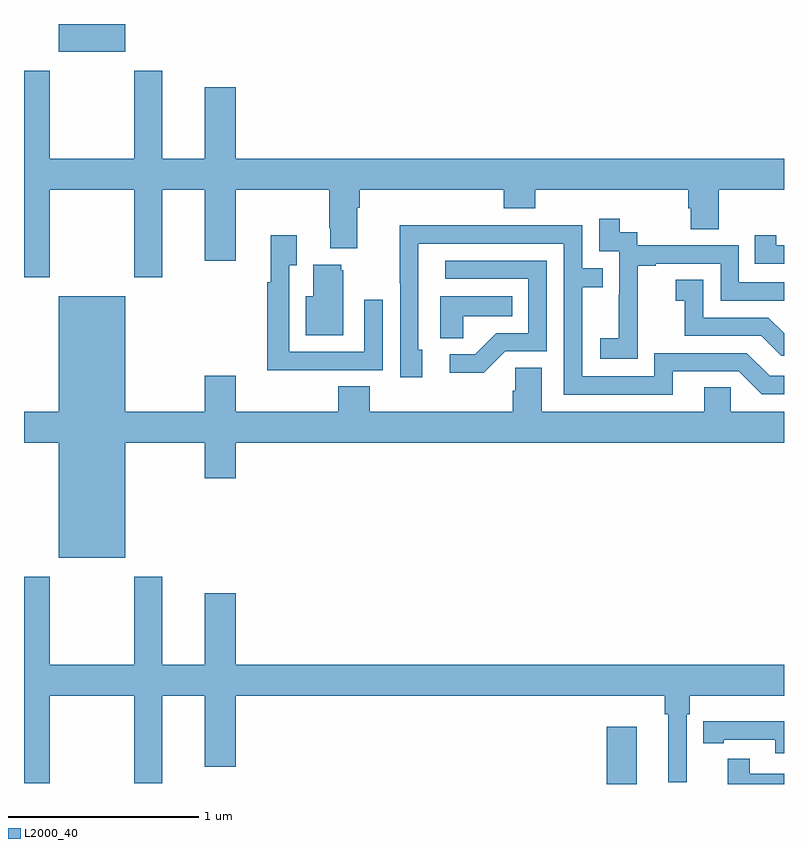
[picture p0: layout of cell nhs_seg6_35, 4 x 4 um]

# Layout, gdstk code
import gdstk
lib = gdstk.Library(unit=1e-6, precision=1e-09)
def R(c, l, rs):  # rectangles x0, y0, x1, y1
    for r in rs: c.add(gdstk.rectangle(r[:2], r[2:], *l))
def P(c, l, *ps):  # polygons
    for p in ps: c.add(gdstk.Polygon(p, *l))
L2000_40 = (2000, 40)

nhs_seg6_35 = lib.new_cell('nhs_seg6_35')
R(nhs_seg6_35, L2000_40, [(114.068,985.5,114.226,985.801), (111.182,989.354,111.532,989.5)])
P(nhs_seg6_35, L2000_40, [(111.135,988.628),(111.58,988.628),(111.58,988.167),(111.727,988.167),(111.727,988.628),(111.95,988.628),(111.95,988.254),(112.114,988.254),(112.114,988.628),(112.606,988.628),(112.606,988.426),(112.613,988.426),(112.613,988.319),(112.753,988.319),(112.753,988.532),(112.766,988.532),(112.766,988.628),(113.525,988.628),(113.525,988.529),(113.69,988.529),(113.69,988.628),(114.497,988.628),(114.497,988.53),(114.509,988.53),(114.509,988.42),(114.657,988.42),(114.657,988.628),(115,988.628),(115,988.792),(112.114,988.792),(112.114,989.167),(111.95,989.167),(111.95,988.792),(111.727,988.792),(111.727,989.254),(111.58,989.254),(111.58,988.792),(111.135,988.792),(111.135,989.254),(111,989.254),(111,988.167),(111.135,988.167)],
  [(114.231,987.943),(114.23,987.943),(114.23,988.227),(114.325,988.227),(114.325,988.239),(114.666,988.239),(114.666,988.044),(115,988.044),(115,988.14),(114.762,988.14),(114.762,988.335),(114.228,988.335),(114.228,988.404),(114.136,988.404),(114.136,988.474),(114.027,988.474),(114.027,988.305),(114.132,988.305),(114.132,988.076),(114.131,988.076),(114.131,987.847),(114.033,987.847),(114.033,987.737),(114.231,987.737)],
  [(114.415,987.672),(114.762,987.672),(114.882,987.552),(115,987.552),(115,987.648),(114.924,987.648),(114.804,987.768),(114.318,987.768),(114.318,987.645),(113.937,987.645),(113.937,988.114),(114.047,988.114),(114.047,988.215),(113.937,988.215),(113.937,988.44),(113.441,988.44),(113.441,988.442),(112.978,988.442),(112.978,988.135),(112.98,988.135),(112.98,987.642),(113.095,987.642),(113.095,987.786),(113.076,987.786),(113.076,988.344),(113.841,988.344),(113.841,987.549),(114.415,987.549)],
  [(112.571,987.678),(112.887,987.678),(112.887,988.048),(112.791,988.048),(112.791,987.774),(112.395,987.774),(112.395,988.231),(112.435,988.231),(112.435,988.387),(112.298,988.387),(112.298,988.142),(112.279,988.142),(112.279,987.677),(112.571,987.677)],
  [(115,988.335),(114.958,988.335),(114.958,988.387),(114.847,988.387),(114.847,988.239),(115,988.239)],
  [(113.532,987.777),(113.751,987.777),(113.751,988.254),(113.217,988.254),(113.217,988.158),(113.655,988.158),(113.655,987.873),(113.486,987.873),(113.375,987.762),(113.241,987.762),(113.241,987.665),(113.419,987.665)],
  [(112.681,988.203),(112.67,988.203),(112.67,988.234),(112.523,988.234),(112.523,988.066),(112.484,988.066),(112.484,987.863),(112.681,987.863)],
  [(115,987.872),(114.918,987.954),(114.576,987.954),(114.576,988.153),(114.429,988.153),(114.429,988.043),(114.478,988.043),(114.478,987.858),(114.881,987.858),(114.986,987.753),(115,987.753)],
  [(113.313,987.962),(113.57,987.962),(113.57,988.066),(113.192,988.066),(113.192,987.847),(113.313,987.847)],
  [(111.532,987.296),(111.95,987.296),(111.95,987.108),(112.114,987.108),(112.114,987.296),(115,987.296),(115,987.46),(114.72,987.46),(114.72,987.587),(114.581,987.587),(114.581,987.46),(113.725,987.46),(113.725,987.692),(113.586,987.692),(113.586,987.569),(113.573,987.569),(113.573,987.46),(112.82,987.46),(112.82,987.593),(112.655,987.593),(112.655,987.46),(112.114,987.46),(112.114,987.649),(111.95,987.649),(111.95,987.46),(111.532,987.46),(111.532,988.066),(111.182,988.066),(111.182,987.46),(111,987.46),(111,987.296),(111.182,987.296),(111.182,986.69),(111.532,986.69)],
  [(111.135,985.964),(111.58,985.964),(111.58,985.503),(111.727,985.503),(111.727,985.964),(111.95,985.964),(111.95,985.59),(112.114,985.59),(112.114,985.964),(114.373,985.964),(114.373,985.868),(114.392,985.868),(114.392,985.509),(114.489,985.509),(114.489,985.868),(114.503,985.868),(114.503,985.964),(115,985.964),(115,986.128),(112.114,986.128),(112.114,986.503),(111.95,986.503),(111.95,986.128),(111.727,986.128),(111.727,986.59),(111.58,986.59),(111.58,986.128),(111.135,986.128),(111.135,986.59),(111,986.59),(111,985.503),(111.135,985.503)],
  [(115,985.831),(114.682,985.831),(114.682,985.83),(114.574,985.83),(114.574,985.714),(114.682,985.714),(114.682,985.734),(114.954,985.734),(114.954,985.662),(115,985.662)],
  [(115,985.554),(114.821,985.554),(114.821,985.633),(114.704,985.633),(114.704,985.5),(115,985.5)])

lib.write_gds('nhs_seg6_35.gds')
